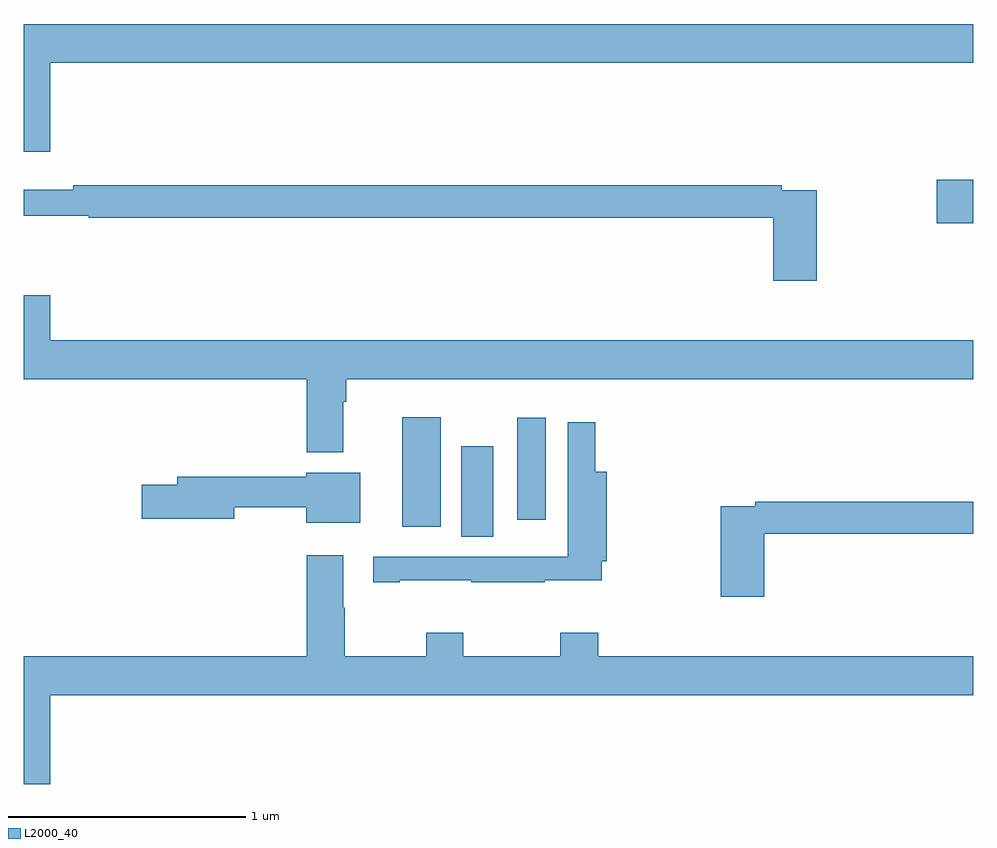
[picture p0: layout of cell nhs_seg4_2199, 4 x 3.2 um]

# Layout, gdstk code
import gdstk
lib = gdstk.Library(unit=1e-6, precision=1e-09)
def R(c, l, rs):  # rectangles x0, y0, x1, y1
    for r in rs: c.add(gdstk.rectangle(r[:2], r[2:], *l))
def P(c, l, *ps):  # polygons
    for p in ps: c.add(gdstk.Polygon(p, *l))
L2000_40 = (2000, 40)

nhs_seg4_2199 = lib.new_cell('nhs_seg4_2199')
R(nhs_seg4_2199, L2000_40, [(226.844,784.168,226.978,784.549), (226.595,784.209,226.756,784.672), (227.078,784.239,227.2,784.669), (228.846,785.489,229,785.672)])
P(nhs_seg4_2199, L2000_40, [(225.112,786.164),(229,786.164),(229,786.328),(225,786.328),(225,785.79),(225.112,785.79)],
  [(228.341,785.628),(228.194,785.628),(228.194,785.648),(225.208,785.648),(225.208,785.629),(225,785.629),(225,785.52),(225.274,785.52),(225.274,785.512),(228.158,785.512),(228.158,785.247),(228.341,785.247)],
  [(226.345,784.736),(226.358,784.736),(226.358,784.832),(229,784.832),(229,784.996),(225.112,784.996),(225.112,785.185),(225,785.185),(225,784.832),(226.193,784.832),(226.193,784.523),(226.345,784.523)],
  [(226.585,783.985),(226.885,783.985),(226.885,783.975),(227.195,783.975),(227.195,783.985),(227.435,783.985),(227.435,784.065),(227.456,784.065),(227.456,784.441),(227.408,784.441),(227.408,784.651),(227.292,784.651),(227.292,784.084),(227.082,784.084),(227.082,784.083),(226.473,784.083),(226.473,783.975),(226.585,783.975)],
  [(226.417,784.438),(226.19,784.438),(226.19,784.42),(225.647,784.42),(225.647,784.386),(225.498,784.386),(225.498,784.244),(225.886,784.244),(225.886,784.291),(226.19,784.291),(226.19,784.226),(226.417,784.226)],
  [(228.119,784.18),(229,784.18),(229,784.316),(228.082,784.316),(228.082,784.296),(227.936,784.296),(227.936,783.915),(228.119,783.915)],
  [(229,783.664),(227.42,783.664),(227.42,783.763),(227.26,783.763),(227.26,783.664),(226.851,783.664),(226.851,783.763),(226.696,783.763),(226.696,783.664),(226.353,783.664),(226.353,783.869),(226.345,783.869),(226.345,784.09),(226.193,784.09),(226.193,783.664),(225,783.664),(225,783.126),(225.112,783.126),(225.112,783.5),(229,783.5)])

lib.write_gds('nhs_seg4_2199.gds')
